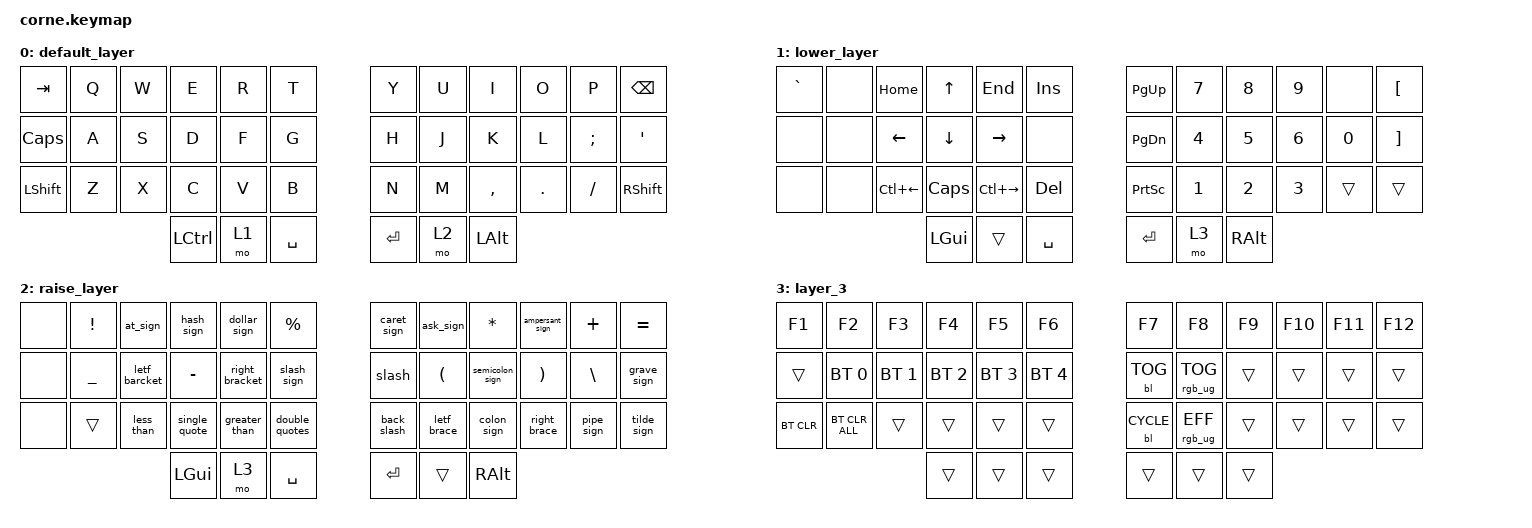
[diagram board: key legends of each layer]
/*
 * Copyright (c) 2020 The ZMK Contributors
 *
 * SPDX-License-Identifier: MIT
 */

#include <behaviors.dtsi>
#include <dt-bindings/zmk/keys.h>
#include <dt-bindings/zmk/bt.h>
#include <dt-bindings/zmk/outputs.h>
#include <dt-bindings/zmk/ext_power.h>
#include <dt-bindings/led/led.h>
#include <dt-bindings/zmk/backlight.h>
#include <dt-bindings/zmk/rgb.h>
#include <dt-bindings/zmk/reset.h>

&led_strip {
    chain-length = <27>;
};

/ {
    combos {
        compatible = "zmk,combos";

        combo_esc {
            timeout-ms = <50>;
            key-positions = <0 1>;
            bindings = <&kp ESC>;
        };

        swith_lang {
            bindings = <&switch_lang>;
            key-positions = <24 36>;
        };

        CTRL {
            bindings = <&kp LS(LEFT_ALT)>;
            key-positions = <36 12>;
        };
    };

    behaviors {
        ss_hs_modmorph: ss_hs_modmorph {
            compatible = "zmk,behavior-mod-morph";
            label = "SS_HS_MODMORPH";
            bindings = <&kp M>, <&kp RIGHT_BRACKET>;

            #binding-cells = <0>;
            mods = <(MOD_LSFT|MOD_RSFT)>;
        };

        kh_hs_tapdance: kh_hs_tapdance {
            compatible = "zmk,behavior-tap-dance";
            label = "KH_HS_TAPDANCE";
            #binding-cells = <0>;
            tapping-term-ms = <200>;
            bindings = <&kp LEFT_BRACKET>, <&kp RIGHT_BRACKET>;
        };

        hrm: hrm {
            compatible = "zmk,behavior-hold-tap";
            #binding-cells = <2>;
            flavor = "tap-preferred";
            tapping-term-ms = <200>;
            quick-tap-ms = <200>;
            require-prior-idle-ms = <125>;
            bindings = <&kp>, <&kp>;
        };
    };

    macros {
        less_than: less_than {
            compatible = "zmk,behavior-macro";
            #binding-cells = <0>;
            bindings =
                <&macro_press>,
                <&kp LEFT_ALT>,
                <&macro_tap>,
                <&kp KP_NUMBER_6 &kp KP_NUMBER_0>,
                <&macro_release>,
                <&kp LEFT_ALT>;

            label = "LESS_THAN";
        };

        greater_than: greater_than {
            compatible = "zmk,behavior-macro";
            #binding-cells = <0>;
            bindings =
                <&macro_press>,
                <&kp LEFT_ALT>,
                <&macro_tap>,
                <&kp KP_NUMBER_6 &kp KP_NUMBER_2>,
                <&macro_release>,
                <&kp LEFT_ALT>;

            label = "GREATER_THAN";
        };

        letf_brace: letf_brace {
            compatible = "zmk,behavior-macro";
            #binding-cells = <0>;
            bindings =
                <&macro_press>,
                <&kp LEFT_ALT>,
                <&macro_tap>,
                <&kp KP_NUMBER_1 &kp KP_NUMBER_2 &kp KP_NUMBER_3>,
                <&macro_release>,
                <&kp LEFT_ALT>;

            label = "LETF_BRACE";
        };

        right_brace: right_brace {
            compatible = "zmk,behavior-macro";
            #binding-cells = <0>;
            bindings =
                <&macro_press>,
                <&kp LEFT_ALT>,
                <&macro_tap>,
                <&kp KP_NUMBER_1 &kp KP_NUMBER_2 &kp KP_NUMBER_5>,
                <&macro_release>,
                <&kp LEFT_ALT>;

            label = "RIGHT_BRACE";
        };

        letf_barcket: letf_barcket {
            compatible = "zmk,behavior-macro";
            #binding-cells = <0>;
            bindings =
                <&macro_press>,
                <&kp LEFT_ALT>,
                <&macro_tap>,
                <&kp KP_NUMBER_9 &kp KP_NUMBER_1>,
                <&macro_release>,
                <&kp LEFT_ALT>;

            label = "LETF_BARCKET";
        };

        right_bracket: right_bracket {
            compatible = "zmk,behavior-macro";
            #binding-cells = <0>;
            bindings =
                <&macro_press>,
                <&kp LEFT_ALT>,
                <&macro_tap>,
                <&kp KP_NUMBER_9 &kp KP_NUMBER_3>,
                <&macro_release>,
                <&kp LEFT_ALT>;

            label = "RIGHT_BRACKET";
        };

        slash: slash {
            compatible = "zmk,behavior-macro";
            #binding-cells = <0>;
            bindings =
                <&macro_press>,
                <&kp LEFT_ALT>,
                <&macro_tap>,
                <&kp KP_NUMBER_4 &kp KP_NUMBER_7>,
                <&macro_release>,
                <&kp LEFT_ALT>;

            label = "SLASH";
        };

        back_slash: back_slash {
            compatible = "zmk,behavior-macro";
            #binding-cells = <0>;
            bindings =
                <&macro_press>,
                <&kp LEFT_ALT>,
                <&macro_tap>,
                <&kp KP_NUMBER_9 &kp KP_NUMBER_2>,
                <&macro_release>,
                <&kp LEFT_ALT>;

            label = "BACK_SLASH";
        };

        at_sign: at_sign {
            compatible = "zmk,behavior-macro";
            #binding-cells = <0>;
            bindings =
                <&macro_press>,
                <&kp LEFT_ALT>,
                <&macro_tap>,
                <&kp KP_NUMBER_6 &kp KP_NUMBER_4>,
                <&macro_release>,
                <&kp LEFT_ALT>;

            label = "AT_SIGN";
        };

        hash_sign: hash_sign {
            compatible = "zmk,behavior-macro";
            #binding-cells = <0>;
            bindings =
                <&macro_press>,
                <&kp LEFT_ALT>,
                <&macro_tap>,
                <&kp KP_NUMBER_3 &kp KP_NUMBER_5>,
                <&macro_release>,
                <&kp LEFT_ALT>;

            label = "HASH_SIGN";
        };

        dollar_sign: dollar_sign {
            compatible = "zmk,behavior-macro";
            #binding-cells = <0>;
            bindings =
                <&macro_press>,
                <&kp LEFT_ALT>,
                <&macro_tap>,
                <&kp KP_NUMBER_3 &kp KP_NUMBER_6>,
                <&macro_release>,
                <&kp LEFT_ALT>;

            label = "DOLLAR_SIGN";
        };

        caret_sign: caret_sign {
            compatible = "zmk,behavior-macro";
            #binding-cells = <0>;
            bindings =
                <&macro_press>,
                <&kp LEFT_ALT>,
                <&macro_tap>,
                <&kp KP_NUMBER_9 &kp KP_NUMBER_4>,
                <&macro_release>,
                <&kp LEFT_ALT>;

            label = "CARET_SIGN";
        };

        ask_sign: ask_sign {
            compatible = "zmk,behavior-macro";
            #binding-cells = <0>;
            bindings =
                <&macro_press>,
                <&kp LEFT_ALT>,
                <&macro_tap>,
                <&kp KP_NUMBER_6 &kp KP_NUMBER_3>,
                <&macro_release>,
                <&kp LEFT_ALT>;

            label = "ASK_SIGN";
        };

        ampersant_sign: ampersant_sign {
            compatible = "zmk,behavior-macro";
            #binding-cells = <0>;
            bindings =
                <&macro_press>,
                <&kp LEFT_ALT>,
                <&macro_tap>,
                <&kp KP_NUMBER_3 &kp KP_NUMBER_8>,
                <&macro_release>,
                <&kp LEFT_ALT>;

            label = "AMPERSANT_SIGN";
        };

        double_quotes: double_quotes {
            compatible = "zmk,behavior-macro";
            #binding-cells = <0>;
            bindings =
                <&macro_press>,
                <&kp LEFT_ALT>,
                <&macro_tap>,
                <&kp KP_NUMBER_3 &kp KP_NUMBER_4>,
                <&macro_release>,
                <&kp LEFT_ALT>;

            label = "DOUBLE_QUOTES";
        };

        single_quote: single_quote {
            compatible = "zmk,behavior-macro";
            #binding-cells = <0>;
            bindings =
                <&macro_press>,
                <&kp LEFT_ALT>,
                <&macro_tap>,
                <&kp KP_NUMBER_3 &kp KP_NUMBER_9>,
                <&macro_release>,
                <&kp LEFT_ALT>;

            label = "SINGLE_QUOTE";
        };

        pipe_sign: pipe_sign {
            compatible = "zmk,behavior-macro";
            #binding-cells = <0>;
            bindings =
                <&macro_press>,
                <&kp LEFT_ALT>,
                <&macro_tap>,
                <&kp KP_NUMBER_1 &kp KP_NUMBER_2 &kp KP_NUMBER_4>,
                <&macro_release>,
                <&kp LEFT_ALT>;

            label = "PIPE_SIGN";
        };

        tilde_sign: tilde_sign {
            compatible = "zmk,behavior-macro";
            #binding-cells = <0>;
            bindings =
                <&macro_press>,
                <&kp LEFT_ALT>,
                <&macro_tap>,
                <&kp KP_NUMBER_1 &kp KP_NUMBER_2 &kp KP_NUMBER_6>,
                <&macro_release>,
                <&kp LEFT_ALT>;

            label = "TILDE_SIGN";
        };

        grave_sign: grave_sign {
            compatible = "zmk,behavior-macro";
            #binding-cells = <0>;
            bindings =
                <&macro_press>,
                <&kp LEFT_ALT>,
                <&macro_tap>,
                <&kp KP_NUMBER_9 &kp KP_NUMBER_6>,
                <&macro_release>,
                <&kp LEFT_ALT>;

            label = "GRAVE_SIGN";
        };

        slash_sign: slash_sign {
            compatible = "zmk,behavior-macro";
            #binding-cells = <0>;
            bindings =
                <&macro_press>,
                <&kp LEFT_ALT>,
                <&macro_tap>,
                <&kp KP_NUMBER_4 &kp KP_NUMBER_7>,
                <&macro_release>,
                <&kp LEFT_ALT>;

            label = "SLASH_SIGN";
        };

        semicolon_sign: semicolon_sign {
            compatible = "zmk,behavior-macro";
            #binding-cells = <0>;
            bindings =
                <&macro_press>,
                <&kp LEFT_ALT>,
                <&macro_tap>,
                <&kp KP_NUMBER_5 &kp KP_NUMBER_8>,
                <&macro_release>,
                <&kp LEFT_ALT>;

            label = "SEMICOLON_SIGN";
        };

        colon_sign: colon_sign {
            compatible = "zmk,behavior-macro";
            #binding-cells = <0>;
            bindings =
                <&macro_press>,
                <&kp LEFT_ALT>,
                <&macro_tap>,
                <&kp KP_NUMBER_5 &kp KP_NUMBER_9>,
                <&macro_release>,
                <&kp LEFT_ALT>;

            label = "COLON_SIGN";
        };

        switch_lang: switch_lang {
            compatible = "zmk,behavior-macro";
            #binding-cells = <0>;
            bindings =
                <&macro_press>,
                <&kp LEFT_ALT>,
                <&macro_tap>,
                <&kp LEFT_SHIFT>,
                <&macro_release>,
                <&kp LEFT_ALT>;

            label = "SWITCH_LANG";
        };
    };

    keymap {
        compatible = "zmk,keymap";

        default_layer {
            // -----------------------------------------------------------------------------------------
            // |  TAB |  Q  |  W  |  E  |  R  |  T  |   |  Y  |  U   |  I  |  O  |  P  | BKSP |
            // | CTRL |  A  |  S  |  D  |  F  |  G  |   |  H  |  J   |  K  |  L  |  ;  |  '   |
            // | SHFT |  Z  |  X  |  C  |  V  |  B  |   |  N  |  M   |  ,  |  .  |  /  | ESC  |
            //                    | GUI | LWR | SPC |   | ENT | RSE  | ALT |

            bindings = <
&kp TAB    &kp Q  &kp W  &kp E             &kp R  &kp T        &kp Y    &kp U  &kp I         &kp O    &kp P     &kp BSPC
&kp CAPS   &kp A  &kp S  &kp D             &kp F  &kp G        &kp H    &kp J  &kp K         &kp L    &kp SEMI  &kp SQT
&kp LSHFT  &kp Z  &kp X  &kp C             &kp V  &kp B        &kp N    &kp M  &kp COMMA     &kp DOT  &kp FSLH  &kp RIGHT_SHIFT
                         &kp LEFT_CONTROL  &mo 1  &kp SPACE    &kp RET  &mo 2  &kp LEFT_ALT
            >;
        };

        lower_layer {
            // -----------------------------------------------------------------------------------------
            // |  TAB |  1  |  2  |  3  |  4  |  5  |   |  6  |  7  |  8  |  9  |  0  | BKSP |
            // | BTCLR| BT1 | BT2 | BT3 | BT4 | BT5 |   | LFT | DWN |  UP | RGT |     |      |
            // | SHFT |     |     |     |     |     |   |     |     |     |     |     |      |
            //                    | GUI |     | SPC |   | ENT |     | ALT |

            bindings = <
&kp GRAVE  &none  &kp HOME      &kp UP        &kp END        &kp INSERT    &kp PAGE_UP      &kp NUMBER_7  &kp NUMBER_8  &kp NUMBER_9  &none         &kp LEFT_BRACKET
&none      &none  &kp LEFT      &kp DOWN      &kp RIGHT      &none         &kp PAGE_DOWN    &kp NUMBER_4  &kp NUMBER_5  &kp NUMBER_6  &kp NUMBER_0  &kp RIGHT_BRACKET
&none      &none  &kp LC(LEFT)  &kp CAPSLOCK  &kp LC(RIGHT)  &kp DEL       &kp PRINTSCREEN  &kp NUMBER_1  &kp NUMBER_2  &kp NUMBER_3  &trans        &trans
                                &kp LGUI      &trans         &kp SPACE     &kp RET          &mo 3         &kp RALT
            >;
        };

        raise_layer {
            // -----------------------------------------------------------------------------------------
            // |  TAB |  !  |  @  |  #  |  $  |  %  |   |  ^  |  &  |  *  |  (  |  )  | BKSP |
            // | CTRL |     |     |     |     |     |   |  -  |  =  |  [  |  ]  |  \  |  `   |
            // | SHFT |     |     |     |     |     |   |  _  |  +  |  {  |  }  | "|" |  ~   |
            //                    | GUI |     | SPC |   | ENT |     | ALT |

            bindings = <
&none  &kp EXCL        &at_sign       &hash_sign     &dollar_sign    &kp PRCNT         &caret_sign  &ask_sign             &kp ASTRK        &ampersant_sign        &kp PLUS    &kp EQUAL
&none  &kp UNDERSCORE  &letf_barcket  &kp MINUS      &right_bracket  &slash_sign       &slash       &kp LEFT_PARENTHESIS  &semicolon_sign  &kp RIGHT_PARENTHESIS  &kp BSLH    &grave_sign
&none  &trans          &less_than     &single_quote  &greater_than   &double_quotes    &back_slash  &letf_brace           &colon_sign      &right_brace           &pipe_sign  &tilde_sign
                                      &kp LGUI       &mo 3           &kp SPACE         &kp RET      &trans                &kp RALT
            >;
        };

        layer_3 {
            bindings = <
&kp F1      &kp F2          &kp F3        &kp F4        &kp F5        &kp F6          &kp F7        &kp F8           &kp F9  &kp F10  &kp F11  &kp F12
&trans      &bt BT_SEL 0    &bt BT_SEL 1  &bt BT_SEL 2  &bt BT_SEL 3  &bt BT_SEL 4    &bl BL_TOG    &rgb_ug RGB_TOG  &trans  &trans   &trans   &trans
&bt BT_CLR  &bt BT_CLR_ALL  &trans        &trans        &trans        &trans          &bl BL_CYCLE  &rgb_ug RGB_EFF  &trans  &trans   &trans   &trans
                                          &trans        &trans        &trans          &trans        &trans           &trans
            >;
        };
    };
};
